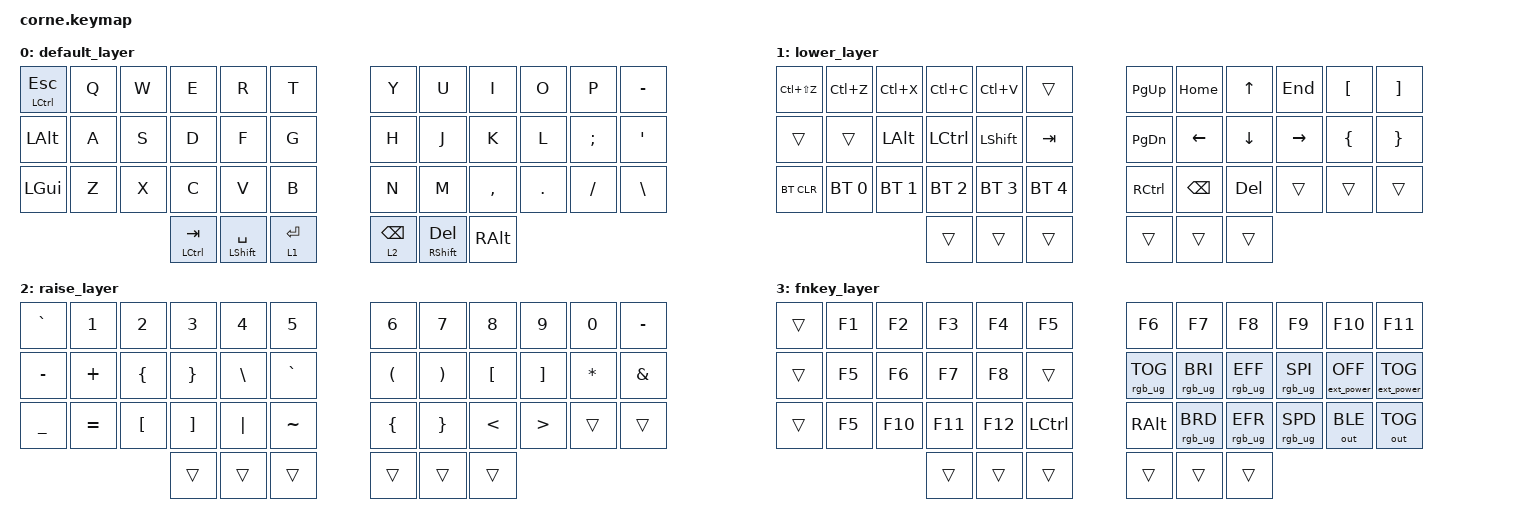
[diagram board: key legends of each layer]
/* Copyright (c) 2020 The ZMK Contributors
 *
 * SPDX-License-Identifier: MIT
 */

#include <behaviors.dtsi>
#include <dt-bindings/zmk/keys.h>
#include <dt-bindings/zmk/bt.h>
#include <dt-bindings/zmk/outputs.h>
#include <dt-bindings/zmk/rgb.h>
#include <dt-bindings/zmk/ext_power.h>

/ {
        keymap {
                compatible = "zmk,keymap";

                default_layer {
// +--------------------------------------------------------------------------------------------------+
// | ESC* |  Q  |  W  |    E    |    R    |    T    |---|    Y    |    U    |    I    |  O  |  P  | - |
// | LALT |  A  |  S  |    D    |    F    |    G    |---|    H    |    J    |    K    |  L  |  ;  | ' |
// | GUI  |  Z  |  X  |    C    |    V    |    B    |---|    N    |    M    |    ,    |  .  |  /  | \ |
// +------------------|---------|-----------------------------------------------------|---------------+
//                    | TAB     | SPC     | ENT     |---| BKSP    | DEL     |   ALT   |
//                    |    CTRL |    SHFT |     LWR |---|     RSE |    SHFT |         |
//                    +---------+---------+---------+---+---------+-------------------+

                        bindings = <
   &mt LCTRL ESC   &kp Q &kp W &kp E &kp R &kp T &kp Y &kp U  &kp I     &kp O   &kp P    &kp MINUS
   &kp LALT  &kp A &kp S &kp D &kp F &kp G       &kp H &kp J  &kp K     &kp L   &kp SEMI &kp SQT
   &kp LGUI  &kp Z &kp X &kp C &kp V &kp B       &kp N &kp M  &kp COMMA &kp DOT &kp FSLH &kp BSLH
    &mt LCTRL TAB &mt LSHFT SPACE  &lt 1 RET   &lt 2 BSPC  &mt RSHFT DEL  &kp RALT
                        >;
                };
                lower_layer {
// --------------------------------------------------------------------------------------
// | redo | ^Z  | ^X  |  ^C |  ^V |     |---| PG_UP| HOME |  UP   |  END  |  [   |  ]   |
// |      |     | ALT | CTRL| SHFT| TAB |---| PG_DN| LFT  |  DWN  |  RGT  |  {   |  }   |
// | BTCLR| BT1 | BT2 | BT3 | BT4 | BT5 |---| CTRL | BKSP |  DEL  |       |      |      |
// +------------------|-----|-----|-----|---|------|------|-------|---------------------+
//                    |     |     |     |---|      |      |       |
//                    +-----+-----+-----+---+------+------+-------+
                        bindings = <
   &kp LC(LS(Z)) &kp LC(Z) &kp LC(X) &kp LC(C) &kp LC(V)  &trans    &kp PG_UP &kp HOME &kp UP   &kp END   &kp LBKT &kp RBKT
   &trans  &trans        &kp LALT  &kp LCTRL &kp LSHFT  &kp TAB    &kp PG_DN &kp LEFT &kp DOWN &kp RIGHT &kp LBRC &kp RBRC
   &bt BT_CLR &bt BT_SEL 0 &bt BT_SEL 1 &bt BT_SEL 2 &bt BT_SEL 3 &bt BT_SEL 4
                                                                  &kp RCTRL    &kp BKSP &kp DEL  &trans    &trans   &trans
                                       &trans    &trans   &trans   &trans    &trans   &trans
                        >;
                };

                raise_layer {
// -------------------------------------------------------------------------------
// |  `   |  1  |  2  |  3  |  4  |  5  |---|  6  |  7  |  8  |  9  |  0  |  -   |
// |  -   |  +  |  {  |  }  |  \  |  `  |---|  (  |  )  |  [  |  ]  |  *  |  &   |
// |  _   |  =  |  [  |  ]  | "|" |  ~  |---|  {  |  }  |  <  |  >  |     |      |
// +------------------+-----|-----|-----+---+-----|-----|-----+-----|-----|------+
//                    |     |     |     |---|     |     |     |
//                    +-----+-----+-----+---+-----+-----+-----+
                        bindings = <
   &kp GRAVE &kp N1   &kp N2 &kp N3  &kp N4   &kp N5          &kp N6    &kp N7  &kp N8  &kp N9  &kp N0  &kp MINUS
   &kp MINUS &kp PLUS &kp LBRC &kp RBRC &kp BSLH &kp GRAVE   &kp LPAR  &kp RPAR  &kp LBKT  &kp RBKT &kp STAR &kp AMPS    
   &kp UNDER &kp EQUAL &kp LBKT &kp RBKT &kp PIPE &kp TILDE   &kp LBRC  &kp RBRC  &kp LT    &kp GT   &trans  &trans    
                                     &trans  &trans  &trans    &trans  &trans  &trans
                        >;
                };

                fnkey_layer {
// -------------------------------------------------------------------------------
// |      | F1  | F2  | F3  | F4  | F5  |---| F6  | F7  | F8  | F9  | F10 |      |
// |  -   | F5  | F6  | F7  | F8  |     |---| rgb | _bri| _eff| _spi| off | _tog |
// |  _   | F9  | F10 | F11 | F12 | CTRL|---| ALT | _brd| _efr| _spd| ble | _tog |
// +------------------+-----|-----|-----+---+-----|-----|-----+-----|-----|------+
//                    |     |     |     |---|     |     |     |
//                    +-----+-----+-----+---+-----+-----+-----+
                        bindings = <
   &trans &kp F1  &kp F2  &kp F3  &kp F4  &kp F5          &kp F6  &kp F7  &kp F8  &kp F9  &kp F10 &kp F11
   &trans &kp F5  &kp F6  &kp F7  &kp F8  &trans          &rgb_ug RGB_TOG  &rgb_ug RGB_BRI  &rgb_ug RGB_EFF  &rgb_ug RGB_SPI  &ext_power EP_OFF  &ext_power EP_TOG
   &trans &kp F5  &kp F10 &kp F11 &kp F12 &kp LCTRL       &kp RALT         &rgb_ug RGB_BRD  &rgb_ug RGB_EFR  &rgb_ug RGB_SPD  &out OUT_BLE       &out OUT_TOG
                           &trans  &trans  &trans    &trans  &trans  &trans
                        >;
                };
//                 plover_layer {
//                         bindings = <
//       &none  &kp PLV_NM  &kp PLV_NM  &kp PLV_NM  &kp PLV_NM  &kp PLV_NM        &kp PLV_NM  &kp PLV_NM  &kp PLV_NM  &kp PLV_NM  &kp PLV_NM  &kp PLV_NM
//       &none  &kp PLV_SL  &kp PLV_TL  &kp PLV_PL  &kp PLV_HL  &kp PLV_ST        &kp PLV_ST  &kp PLV_FR  &kp PLV_PR  &kp PLV_LR  &kp PLV_TR  &kp PLV_DR
//       &none  &kp PLV_SL  &kp PLV_KL  &kp PLV_WL  &kp PLV_RL  &kp PLV_ST        &kp PLV_ST  &kp PLV_RR  &kp PLV_BR  &kp PLV_GR  &kp PLV_SR  &kp PLV_ZR
//                                               &kp PLV_A  &kp PLV_O  &none    &none  &kp PLV_E  &kp PLV_U
//                         >;
//                 };
//                 plover_keyboard {
//                         bindings = <
//       &none  &kp N1  &kp N2  &kp N3  &kp N4  &kp N5      &kp N6  &kp N7  &kp N8  &kp N9  &kp N0   &kp HASH
//       &none  &kp Q   &kp W   &kp E   &kp R   &kp T       &kp Y   &kp U   &kp I   &kp O   &kp P    &kp MINUS
//       &none  &kp A   &kp S   &kp D   &kp F   &kp G       &kp H   &kp J   &kp K   &kp L   &kp SEMI &kp SQT
//                                  &kp C  &kp V  &none  &none  &kp N  &kp M
//                         >;
//                 };
        
        };
};

/ {
conditional_layers {
        compatible = "zmk,conditional-layers";
        fn_layer {
            if-layers = <1 2>;
            then-layer = <3>;
        };
    };
};

&led_strip {
    chain-length = <27>;
};

//---------------------------- Plover:
// / {
//     // Steno modes:
//     //-- Normal Mode      : chord 3 control keys on Left keypad.
//     //-- Enter Plover Mode: chord "ASDF" in Normal mode.
//     //-- Select Steno Kbd : chord 3 left-most keys on Left keypad.
//     //----
//     combos {
//         compatible = "zmk,combos";
//         combo_plover {
//             timeout-ms = <50>;
//             key-positions = <13 14 15 16>;
//             layers = <0>;
//             bindings = <&to 4>;
//         };
//         combo_stenokeys {
//             timeout-ms = <50>;
//             key-positions = <0 12 24>;
//             bindings = <&to 5>;
//         };
//         combo_normal {
//             timeout-ms = <50>;
//             key-positions = <36 37 38>;
//             bindings = <&to 0>;
//         };
//     };
// };

